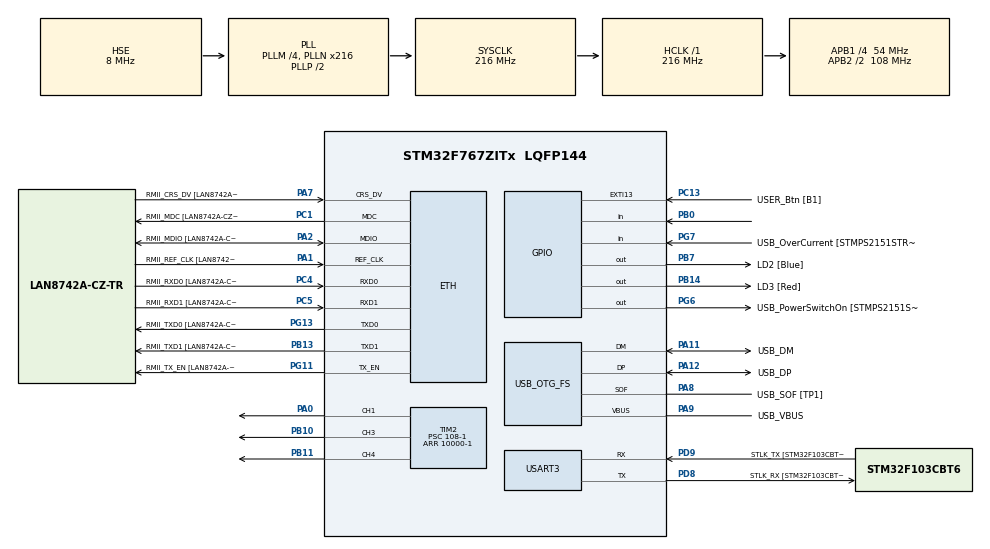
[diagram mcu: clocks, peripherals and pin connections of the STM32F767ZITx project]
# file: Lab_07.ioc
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ETH.MediaInterface=HAL_ETH_RMII_MODE
ETH.PHY_Name=LAN8742A_PHY_ADDRESS
ETH.PHY_Value=0
ETH.PhyAddress=0
Mcu.Family=STM32F7
Mcu.Name=STM32F767ZITx
Mcu.Package=LQFP144
NVIC.PriorityGroup=NVIC_PRIORITYGROUP_4
NVIC.TIM2_IRQn=true\:0\:0\:false\:false\:true\:true\:true\:true
PA0/WKUP.GPIO_Speed=GPIO_SPEED_FREQ_VERY_HIGH
PA0/WKUP.Signal=S_TIM2_CH1_ETR
PA1.GPIO_Label=RMII_REF_CLK [LAN8742A-CZ-TR_REFCLK0]
PA1.Mode=RMII
PA1.Signal=ETH_REF_CLK
PA10.GPIO_Label=USB_ID
PA10.Signal=USB_OTG_FS_ID
PA11.GPIO_Label=USB_DM
PA11.Mode=Device_Only
PA11.Signal=USB_OTG_FS_DM
PA12.GPIO_Label=USB_DP
PA12.Mode=Device_Only
PA12.Signal=USB_OTG_FS_DP
PA13.GPIO_Label=TMS
PA13.Mode=Serial_Wire
PA13.Signal=SYS_JTMS-SWDIO
PA14.GPIO_Label=TCK
PA14.Mode=Serial_Wire
PA14.Signal=SYS_JTCK-SWCLK
PA2.GPIO_Label=RMII_MDIO [LAN8742A-CZ-TR_MDIO]
PA2.Mode=RMII
PA2.Signal=ETH_MDIO
PA7.GPIO_Label=RMII_CRS_DV [LAN8742A-CZ-TR_CRS_DV]
PA7.Mode=RMII
PA7.Signal=ETH_CRS_DV
PA8.GPIO_Label=USB_SOF [TP1]
PA8.Mode=Activate_SOF_FS
PA8.Signal=USB_OTG_FS_SOF
PA9.GPIO_Label=USB_VBUS
PA9.Mode=Activate_VBUS
PA9.Signal=USB_OTG_FS_VBUS
PB0.Signal=GPIO_Input
PB10.GPIO_Speed=GPIO_SPEED_FREQ_VERY_HIGH
PB10.Signal=S_TIM2_CH3
PB11.GPIO_Speed=GPIO_SPEED_FREQ_VERY_HIGH
PB11.Signal=S_TIM2_CH4
PB13.GPIO_Label=RMII_TXD1 [LAN8742A-CZ-TR_TXD1]
PB13.Mode=RMII
PB13.Signal=ETH_TXD1
PB14.GPIO_Label=LD3 [Red]
PB14.Signal=GPIO_Output
PB3.GPIO_Label=SWO
PB3.Signal=SYS_JTDO-SWO
PB7.GPIO_FM7=__NULL
PB7.GPIO_Label=LD2 [Blue]
PB7.Signal=GPIO_Output
PC1.GPIO_Label=RMII_MDC [LAN8742A-CZ-TR_MDC]
PC1.Mode=RMII
PC1.Signal=ETH_MDC
PC13.GPIO_Label=USER_Btn [B1]
PC13.Signal=GPXTI13
PC14/OSC32_IN.Mode=LSE-External-Oscillator
PC14/OSC32_IN.Signal=RCC_OSC32_IN
PC15/OSC32_OUT.Mode=LSE-External-Oscillator
PC15/OSC32_OUT.Signal=RCC_OSC32_OUT
PC4.GPIO_Label=RMII_RXD0 [LAN8742A-CZ-TR_RXD0]
PC4.Mode=RMII
PC4.Signal=ETH_RXD0
PC5.GPIO_Label=RMII_RXD1 [LAN8742A-CZ-TR_RXD1]
PC5.Mode=RMII
PC5.Signal=ETH_RXD1
PD8.GPIO_Label=STLK_RX [STM32F103CBT6_PA3]
PD8.Mode=Asynchronous
PD8.Signal=USART3_TX
PD9.GPIO_Label=STLK_TX [STM32F103CBT6_PA2]
PD9.Mode=Asynchronous
PD9.Signal=USART3_RX
PG11.GPIO_Label=RMII_TX_EN [LAN8742A-CZ-TR_TXEN]
PG11.Mode=RMII
PG11.Signal=ETH_TX_EN
PG13.GPIO_Label=RMII_TXD0 [LAN8742A-CZ-TR_TXD0]
PG13.Mode=RMII
PG13.Signal=ETH_TXD0
PG6.GPIO_Label=USB_PowerSwitchOn [STMPS2151STR_EN]
PG6.Signal=GPIO_Output
PG7.GPIO_Label=USB_OverCurrent [STMPS2151STR_FAULT]
PG7.Signal=GPIO_Input
PH0/OSC_IN.GPIO_Label=MCO [STM32F103CBT6_PA8]
PH0/OSC_IN.Mode=HSE-External-Clock-Source
PH0/OSC_IN.Signal=RCC_OSC_IN
PH1/OSC_OUT.Mode=HSE-External-Clock-Source
PH1/OSC_OUT.Signal=RCC_OSC_OUT
ProjectManager.HeapSize=0x200
ProjectManager.StackSize=0x400
ProjectManager.TargetToolchain=STM32CubeIDE
RCC.48MHZClocksFreq_Value=24000000
RCC.AHBFreq_Value=216000000
RCC.APB1CLKDivider=RCC_HCLK_DIV4
RCC.APB1Freq_Value=54000000
RCC.APB1TimFreq_Value=108000000
RCC.APB2CLKDivider=RCC_HCLK_DIV2
RCC.APB2Freq_Value=108000000
RCC.APB2TimFreq_Value=216000000
RCC.CortexFreq_Value=216000000
RCC.HCLKFreq_Value=216000000
RCC.HSE_VALUE=8000000
RCC.HSI_VALUE=16000000
RCC.PLLM=4
RCC.PLLMUL=RCC_PLL_MUL9
RCC.PLLN=216
RCC.PLLQ=9
RCC.PRESCALERUSB=RCC_USBCLKSOURCE_PLL_DIV1_5
RCC.SYSCLKFreq_VALUE=216000000
RCC.SYSCLKSource=RCC_SYSCLKSOURCE_PLLCLK
RCC.SYSCLKSourceVirtual=RCC_SYSCLKSOURCE_PLLCLK
RCC.USBFreq_Value=48000000
RCC.VCOOutputFreq_Value=432000000
SH.S_TIM2_CH1_ETR.0=TIM2_CH1,PWM Generation1 CH1
SH.S_TIM2_CH3.0=TIM2_CH3,PWM Generation3 CH3
SH.S_TIM2_CH4.0=TIM2_CH4,PWM Generation4 CH4
TIM2.Channel-PWM\ Generation1\ CH1=TIM_CHANNEL_1
TIM2.Channel-PWM\ Generation3\ CH3=TIM_CHANNEL_3
TIM2.Channel-PWM\ Generation4\ CH4=TIM_CHANNEL_4
TIM2.Period=10000-1
TIM2.Prescaler=108-1
TIM2.Pulse-PWM\ Generation1\ CH1=10000/4-1
TIM2.Pulse-PWM\ Generation3\ CH3=10000/4-1
TIM2.Pulse-PWM\ Generation4\ CH4=10000/4-1
USART3.VirtualMode-Asynchronous=VM_ASYNC
USB_OTG_FS.VirtualMode=Device_Only
VP_TIM2_VS_ClockSourceINT.Mode=Internal
board=NUCLEO-F767ZI

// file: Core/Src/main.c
/* USER CODE BEGIN Header */
/**
  ******************************************************************************
  * @file           : main.c
  * @brief          : Main program body
  ******************************************************************************
  * @attention
  *
  * Copyright (c) 2025 STMicroelectronics.
  * All rights reserved.
  *
  * This software is licensed under terms that can be found in the LICENSE file
  * in the root directory of this software component.
  * If no LICENSE file comes with this software, it is provided AS-IS.
  *
  ******************************************************************************
  */
/* USER CODE END Header */
#include "main.h"
#include "eth.h"
#include "tim.h"
#include "usart.h"
#include "usb_otg.h"
#include "gpio.h"

/* USER CODE BEGIN PV */
uint8_t pwm;
uint8_t dutyCycle;
int duty_red = 0;
int duty_green = 0;
int duty_blue = 0;

uint8_t rx_data;
/* USER CODE END PV */

void SystemClock_Config(void);
/* USER CODE BEGIN PFP */
void HAL_UART_RxCpltCallback(UART_HandleTypeDef *huart);

/* USER CODE END PFP */

int main(void)
{

  /* MCU Configuration--------------------------------------------------------*/

  /* Reset of all peripherals, Initializes the Flash interface and the Systick. */
  HAL_Init();

  /* Configure the system clock */
  SystemClock_Config();

  /* Initialize all configured peripherals */
  MX_GPIO_Init();
  MX_ETH_Init();
  MX_USART3_UART_Init();
  MX_USB_OTG_FS_PCD_Init();
  MX_TIM2_Init();
  /* USER CODE BEGIN 2 */
  HAL_TIM_PWM_Start(&htim2, TIM_CHANNEL_1); // Red PB10 PB14
  HAL_TIM_PWM_Start(&htim2, TIM_CHANNEL_3); // Green PB11 PB0
  HAL_TIM_PWM_Start(&htim2, TIM_CHANNEL_4); // Blue PA0 PB7

	HAL_UART_Receive_IT(&huart3, &rx_data, 1); // Interrupt RX
  /* USER CODE END 2 */

  /* Infinite loop */
  while (1)
  {

    /* USER CODE BEGIN 3 */
//	HAL_TIM_PWM_Start(&htim2, TIM_CHANNEL_3);
//	HAL_Delay(100);
//	HAL_TIM_PWM_Stop(&htim2, TIM_CHANNEL_3);
//	pwm = (GPIOB->IDR & GPIO_PIN_10) >> 10;
	  htim2.Instance -> CCR3 = (10000-1) * dutyCycle;
	  HAL_TIM_PWM_Start(&htim2, TIM_CHANNEL_3);
	  HAL_Delay(100);
	  HAL_TIM_PWM_Stop(&htim2, TIM_CHANNEL_3);
	  pwm = (GPIOB->IDR & GPIO_PIN_10) >> 10;
	  // Update PWM Duty
//	  HAL_TIM_PWM_Start(&htim2, TIM_CHANNEL_1);
//	  HAL_TIM_PWM_Start(&htim2, TIM_CHANNEL_3);
//	  HAL_TIM_PWM_Start(&htim2, TIM_CHANNEL_4);
//
//	  __HAL_TIM_SET_COMPARE(&htim2, TIM_CHANNEL_1, duty_red   * 200); // 0–1000
//	  __HAL_TIM_SET_COMPARE(&htim2, TIM_CHANNEL_3, duty_green * 200);
//	  __HAL_TIM_SET_COMPARE(&htim2, TIM_CHANNEL_4, duty_blue  * 200);
  }
  /* USER CODE END 3 */
}

void SystemClock_Config(void)
{
  RCC_OscInitTypeDef RCC_OscInitStruct = {0};
  RCC_ClkInitTypeDef RCC_ClkInitStruct = {0};

  /** Configure LSE Drive Capability
  */
  HAL_PWR_EnableBkUpAccess();

  /** Configure the main internal regulator output voltage
  */
  __HAL_RCC_PWR_CLK_ENABLE();
  __HAL_PWR_VOLTAGESCALING_CONFIG(PWR_REGULATOR_VOLTAGE_SCALE1);

  /** Initializes the RCC Oscillators according to the specified parameters
  * in the RCC_OscInitTypeDef structure.
  */
  RCC_OscInitStruct.OscillatorType = RCC_OSCILLATORTYPE_HSE;
  RCC_OscInitStruct.HSEState = RCC_HSE_BYPASS;
  RCC_OscInitStruct.PLL.PLLState = RCC_PLL_ON;
  RCC_OscInitStruct.PLL.PLLSource = RCC_PLLSOURCE_HSE;
  RCC_OscInitStruct.PLL.PLLM = 4;
  RCC_OscInitStruct.PLL.PLLN = 216;
  RCC_OscInitStruct.PLL.PLLP = RCC_PLLP_DIV2;
  RCC_OscInitStruct.PLL.PLLQ = 9;
  RCC_OscInitStruct.PLL.PLLR = 2;
  if (HAL_RCC_OscConfig(&RCC_OscInitStruct) != HAL_OK)
  {
    Error_Handler();
  }

  /** Activate the Over-Drive mode
  */
  if (HAL_PWREx_EnableOverDrive() != HAL_OK)
  {
    Error_Handler();
  }

  /** Initializes the CPU, AHB and APB buses clocks
  */
  RCC_ClkInitStruct.ClockType = RCC_CLOCKTYPE_HCLK|RCC_CLOCKTYPE_SYSCLK
                              |RCC_CLOCKTYPE_PCLK1|RCC_CLOCKTYPE_PCLK2;
  RCC_ClkInitStruct.SYSCLKSource = RCC_SYSCLKSOURCE_PLLCLK;
  RCC_ClkInitStruct.AHBCLKDivider = RCC_SYSCLK_DIV1;
  RCC_ClkInitStruct.APB1CLKDivider = RCC_HCLK_DIV4;
  RCC_ClkInitStruct.APB2CLKDivider = RCC_HCLK_DIV2;

  if (HAL_RCC_ClockConfig(&RCC_ClkInitStruct, FLASH_LATENCY_7) != HAL_OK)
  {
    Error_Handler();
  }
}

/* USER CODE BEGIN 4 */
void HAL_UART_RxCpltCallback(UART_HandleTypeDef *huart)
{
  while (__HAL_UART_GET_FLAG(&huart3, UART_FLAG_RXNE) == RESET) {}
  HAL_UART_Receive_IT(&huart3, &rx_data, 1); // Restart RX

  while (__HAL_UART_GET_FLAG(&huart3, UART_FLAG_TC) == RESET) {}
   HAL_UART_Transmit(&huart3, (uint8_t*) rx_data, 1, 1000);

  if (huart->Instance == USART3) {
    if (rx_data == 'r') {
      duty_red += 1;
      if (duty_red > 5) duty_red = 0;
    }
    else if (rx_data == 'g'){
      duty_green += 1;
      if (duty_green > 5) duty_green = 0;
    }
    else if (rx_data == 'b') {
      duty_blue += 1;
      if (duty_blue > 5) duty_blue = 0;
    }

  }
}
/* USER CODE END 4 */

void Error_Handler(void)
{
  __disable_irq();
  while (1)
  {
  }
}
